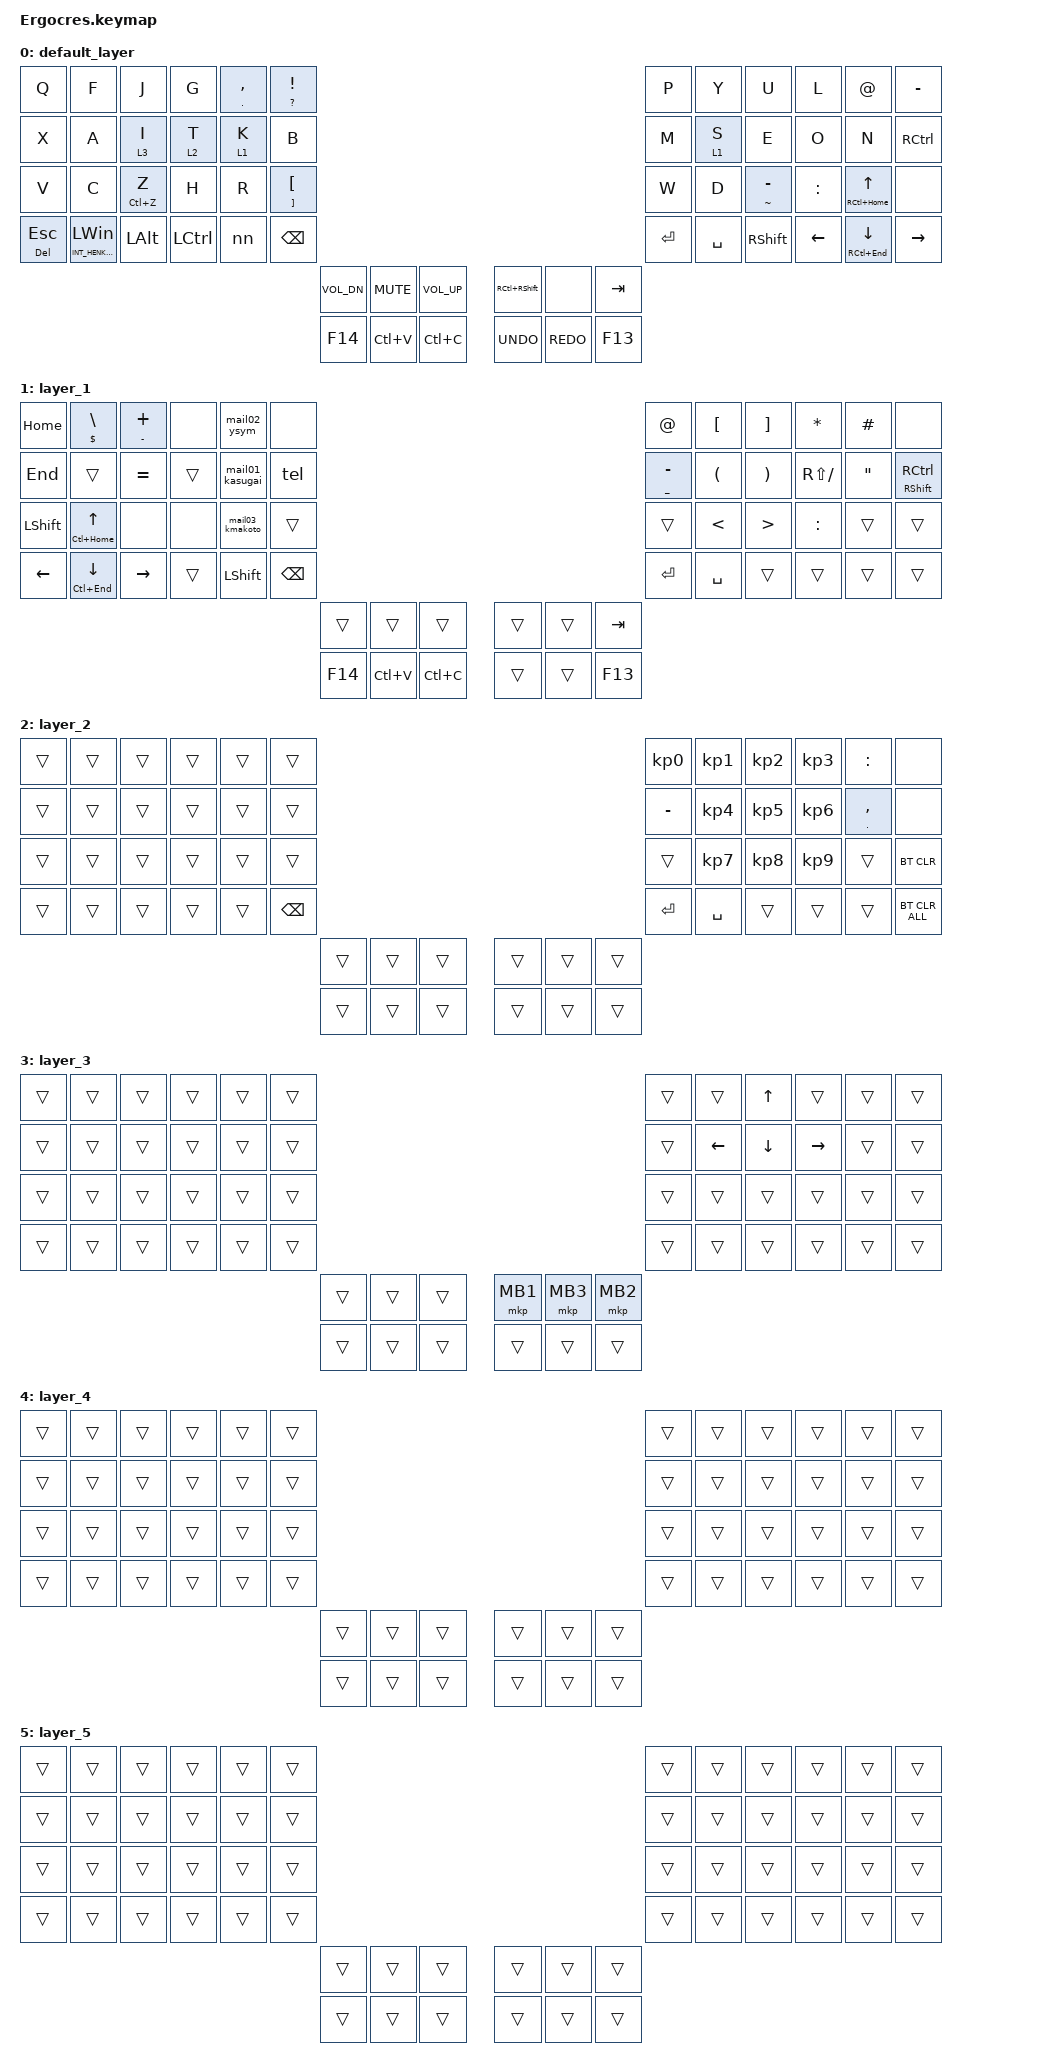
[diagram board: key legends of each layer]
#include <behaviors.dtsi>
#include <dt-bindings/zmk/bt.h>
#include <dt-bindings/zmk/keys.h>
#include <dt-bindings/zmk/pointing.h>

/ {
    combos { compatible = "zmk,combos"; };
};

/ {
    macros {
        santen: new_macro {
            compatible = "zmk,behavior-macro";
            #binding-cells = <0>;
            bindings = <&kp Z &kp PERIOD>;
            label = "NEW_MACRO";
        };

        nn: nn {
            compatible = "zmk,behavior-macro";
            #binding-cells = <0>;
            bindings = <&kp N &kp N>;
            label = "NN";
        };

        mail01_kasugai: mail01_kasugai {
            compatible = "zmk,behavior-macro";
            #binding-cells = <0>;
            bindings = <&kp K &kp A &kp S &kp U &kp G &kp A &kp I &kp N4 &kp N9 &kp AT &kp G &kp M &kp A &kp I &kp L &kp DOT &kp C &kp O &kp M>;
            label = "MAIL01_KASUGAI";
        };

        mail02_ysym: mail02_ysym {
            compatible = "zmk,behavior-macro";
            #binding-cells = <0>;
            bindings = <&kp Y &kp S &kp Y &kp M &kp AT &kp Y &kp M &kp A &kp I &kp L &kp DOT &kp N &kp E &kp DOT &kp J &kp P>;
            label = "MAIL02_YSYM";
        };

        mail03_kmakoto: mail03_kmakoto {
            compatible = "zmk,behavior-macro";
            #binding-cells = <0>;
            bindings = <&kp K &kp M &kp A &kp K &kp O &kp T &kp O &kp N3 &kp N3 &kp N3 &kp N1 &kp AT &kp G &kp M &kp A &kp I &kp L &kp DOT &kp C &kp O &kp M>;
            label = "MAIL03_KMAKOTO";
        };

        tel: tel {
            compatible = "zmk,behavior-macro";
            #binding-cells = <0>;
            bindings = <&kp N0 &kp N9 &kp N0 &kp N8 &kp N5 &kp N0 &kp N7 &kp N0 &kp N7 &kp N6 &kp N1>;
            label = "TEL";
        };
    };

    keymap {
        compatible = "zmk,keymap";

        default_layer {
            bindings = <
&kp Q         &kp F                    &kp J         &kp G           &mt PERIOD COMMA  &mt QUESTION EXCLAMATION          &kp P      &kp Y      &kp U            &kp L       &kp AT_SIGN       &kp MINUS
&kp X         &kp A                    &lt 3 I       &lt 2 T         &lt 1 K           &kp B                             &kp M      &lt 1 S    &kp E            &kp O       &kp N             &kp RCTRL
&kp V         &kp C                    &mt LC(Z) Z   &kp H           &kp R             &mt RIGHT_BRACKET LEFT_BRACKET    &kp W      &kp D      &mt TILDE MINUS  &kp COLON   &mt RC(HOME) UP   &none
&mt DEL ESC   &mt INT_HENKAN LEFT_WIN  &kp LEFT_ALT  &kp LCTRL       &nn               &kp BACKSPACE                     &kp ENTER  &kp SPACE  &kp RIGHT_SHIFT  &kp LEFT    &mt RC(END) DOWN  &kp RIGHT
&kp C_VOL_DN  &kp K_MUTE               &kp C_VOL_UP  &kp RC(RSHIFT)  &none             &kp TAB                           &kp F14    &kp LC(V)  &kp LC(C)        &kp K_UNDO  &kp K_REDO        &kp F13
            >;
        };

        layer_1 {
            bindings = <
&kp HOME    &mt DLLR BSLH     &mt MINUS PLUS  &none   &mail02_ysym     &none            &kp AT_SIGN           &kp LEFT_BRACKET  &kp RIGHT_BRACKET  &kp ASTRK      &kp HASH           &none
&kp END     &trans            &kp EQUAL       &trans  &mail01_kasugai  &tel             &mt UNDERSCORE MINUS  &kp LPAR          &kp RPAR           &kp RS(SLASH)  &kp DOUBLE_QUOTES  &mt RSHIFT RCTRL
&kp LSHIFT  &mt LC(HOME) UP   &none           &none   &mail03_kmakoto  &trans           &trans                &kp LESS_THAN     &kp GREATER_THAN   &kp COLON      &trans             &trans
&kp LEFT    &mt LC(END) DOWN  &kp RIGHT       &trans  &kp LSHIFT       &kp BACKSPACE    &kp ENTER             &kp SPACE         &trans             &trans         &trans             &trans
&trans      &trans            &trans          &trans  &trans           &kp TAB          &kp F14               &kp LC(V)         &kp LC(C)          &trans         &trans             &kp F13
            >;
        };

        layer_2 {
            bindings = <
&trans  &trans  &trans  &trans  &trans  &trans           &kp KP_NUMBER_0  &kp KP_NUMBER_1  &kp KP_NUMBER_2  &kp KP_NUMBER_3  &kp COLON      &none
&trans  &trans  &trans  &trans  &trans  &trans           &kp MINUS        &kp KP_NUMBER_4  &kp KP_NUMBER_5  &kp KP_NUMBER_6  &mt DOT COMMA  &none
&trans  &trans  &trans  &trans  &trans  &trans           &trans           &kp KP_NUMBER_7  &kp KP_NUMBER_8  &kp KP_NUMBER_9  &trans         &bt BT_CLR
&trans  &trans  &trans  &trans  &trans  &kp BACKSPACE    &kp ENTER        &kp SPACE        &trans           &trans           &trans         &bt BT_CLR_ALL
&trans  &trans  &trans  &trans  &trans  &trans           &trans           &trans           &trans           &trans           &trans         &trans
            >;
        };

        layer_3 {
            bindings = <
&trans  &trans  &trans  &trans    &trans    &trans      &trans  &trans    &kp UP    &trans     &trans  &trans
&trans  &trans  &trans  &trans    &trans    &trans      &trans  &kp LEFT  &kp DOWN  &kp RIGHT  &trans  &trans
&trans  &trans  &trans  &trans    &trans    &trans      &trans  &trans    &trans    &trans     &trans  &trans
&trans  &trans  &trans  &trans    &trans    &trans      &trans  &trans    &trans    &trans     &trans  &trans
&trans  &trans  &trans  &mkp MB1  &mkp MB3  &mkp MB2    &trans  &trans    &trans    &trans     &trans  &trans
            >;
        };

        layer_4 {
            bindings = <
&trans  &trans  &trans  &trans  &trans  &trans    &trans  &trans  &trans  &trans  &trans  &trans
&trans  &trans  &trans  &trans  &trans  &trans    &trans  &trans  &trans  &trans  &trans  &trans
&trans  &trans  &trans  &trans  &trans  &trans    &trans  &trans  &trans  &trans  &trans  &trans
&trans  &trans  &trans  &trans  &trans  &trans    &trans  &trans  &trans  &trans  &trans  &trans
&trans  &trans  &trans  &trans  &trans  &trans    &trans  &trans  &trans  &trans  &trans  &trans
            >;
        };

        layer_5 {
            bindings = <
&trans  &trans  &trans  &trans  &trans  &trans    &trans  &trans  &trans  &trans  &trans  &trans
&trans  &trans  &trans  &trans  &trans  &trans    &trans  &trans  &trans  &trans  &trans  &trans
&trans  &trans  &trans  &trans  &trans  &trans    &trans  &trans  &trans  &trans  &trans  &trans
&trans  &trans  &trans  &trans  &trans  &trans    &trans  &trans  &trans  &trans  &trans  &trans
&trans  &trans  &trans  &trans  &trans  &trans    &trans  &trans  &trans  &trans  &trans  &trans
            >;
        };
    };
};
